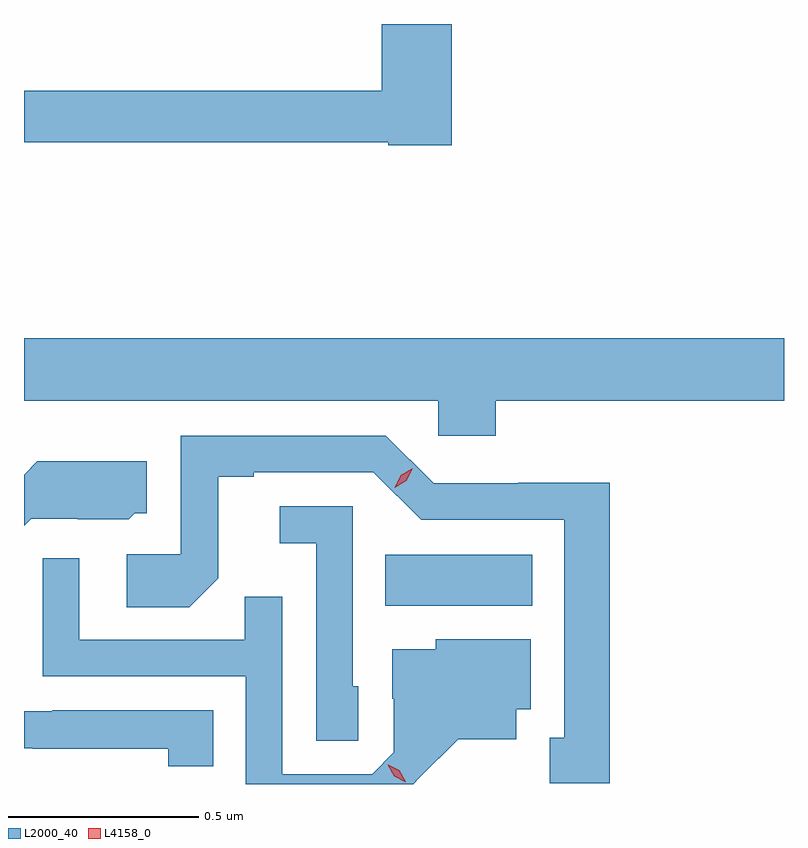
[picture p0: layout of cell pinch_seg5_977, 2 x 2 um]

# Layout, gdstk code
import gdstk
lib = gdstk.Library(unit=1e-6, precision=1e-09)
def R(c, l, rs):  # rectangles x0, y0, x1, y1
    for r in rs: c.add(gdstk.rectangle(r[:2], r[2:], *l))
def P(c, l, *ps):  # polygons
    for p in ps: c.add(gdstk.Polygon(p, *l))
L2000_40 = (2000, 40)
L4158_0 = (4158, 0)

pinch_seg5_977 = lib.new_cell('pinch_seg5_977')
R(pinch_seg5_977, L2000_40, [(720.34,880.196,720.727,880.33)])
P(pinch_seg5_977, L2000_40, [(720.515,881.727),(720.332,881.727),(720.332,881.552),(719.39,881.552),(719.39,881.416),(720.348,881.416),(720.348,881.408),(720.515,881.408)],
  [(720.632,880.736),(721.39,880.736),(721.39,880.9),(719.39,880.9),(719.39,880.736),(720.48,880.736),(720.48,880.643),(720.632,880.643)],
  [(720.931,880.52),(720.69,880.52),(720.69,880.518),(720.468,880.518),(720.342,880.644),(719.802,880.644),(719.802,880.332),(719.661,880.332),(719.661,880.192),(719.825,880.192),(719.901,880.268),(719.901,880.536),(719.995,880.536),(719.995,880.548),(720.309,880.548),(720.435,880.422),(720.812,880.422),(720.812,879.849),(720.773,879.849),(720.773,879.729),(720.931,879.729)],
  [(719.409,880.425),(719.532,880.425),(719.532,880.424),(719.666,880.424),(719.682,880.44),(719.713,880.44),(719.713,880.576),(719.425,880.576),(719.39,880.541),(719.39,880.406)],
  [(720.27,879.984),(720.255,879.984),(720.255,880.458),(720.063,880.458),(720.063,880.361),(720.159,880.361),(720.159,879.841),(720.27,879.841)],
  [(720.43,879.743),(720.533,879.845),(720.685,879.845),(720.685,879.924),(720.724,879.924),(720.724,880.108),(720.474,880.108),(720.474,880.081),(720.359,880.081),(720.359,879.952),(720.363,879.952),(720.363,879.81),(720.306,879.753),(720.069,879.753),(720.069,880.22),(719.971,880.22),(719.971,880.107),(719.535,880.107),(719.535,880.321),(719.439,880.321),(719.439,880.011),(719.973,880.011),(719.973,879.727),(720.414,879.727)],
  [(719.888,879.921),(719.464,879.921),(719.464,879.918),(719.39,879.918),(719.39,879.821),(719.413,879.821),(719.413,879.82),(719.77,879.82),(719.77,879.774),(719.888,879.774)])
P(pinch_seg5_977, L4158_0, [(720.365,880.506),(720.365,880.506),(720.382,880.539),(720.413,880.558),(720.413,880.558),(720.413,880.558),(720.396,880.525),(720.365,880.506)],
  [(720.395,879.732),(720.364,879.748),(720.347,879.778),(720.347,879.778),(720.348,879.778),(720.378,879.763),(720.395,879.733),(720.395,879.732)])

lib.write_gds('pinch_seg5_977.gds')
